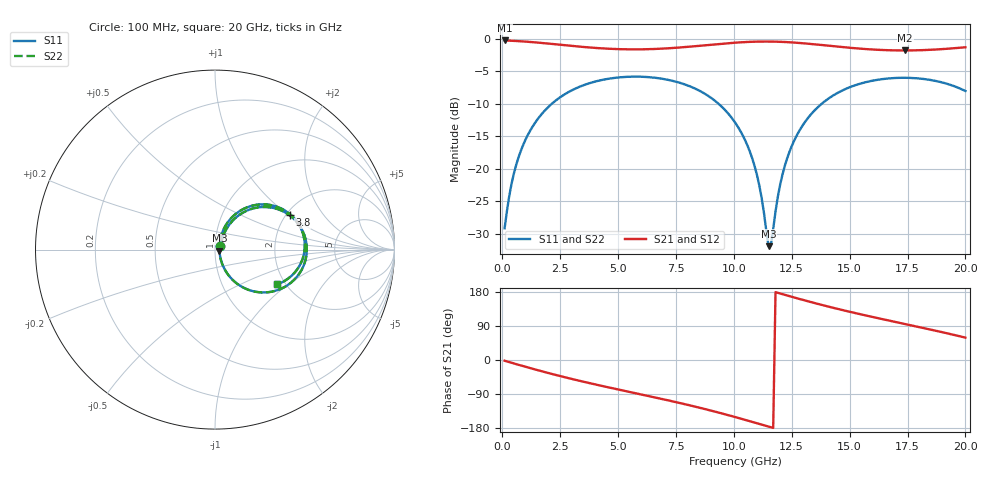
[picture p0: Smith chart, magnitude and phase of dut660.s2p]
! Touchstone file exported from HFSS 2026.1.0
!  File:  C:/ffzhzh/LocalFiles/Ansys_Project_Files/temp_train_TSV_RDL_660_1783130471_35180.aedt
!  Generated:  10:18:55 AM Jul  4, 2026
!  Design:  TSV_RDL
!  Project:  temp_train_TSV_RDL_660_1783130471_35180
! Variables:
!  h_bsmrdl = 5.15um
!  h_ox = 20um
!  h_rdl = 5um
!  h_sub = 52.2um
!  h_tmrdl = 2.04um
!  h_tsv = 52.2um
!  h_via = 3um
!  l_bsmrdl = 597.53um
!  l_sub = 5426.33um
!  l_tmrdl = 768.67um
!  m_sub = 200um
!  pitch = 49.35um
!  r_tsv = 3.33um
!  s_tmrdl = 10um
!  w_bsmrdl = 27.78um
!  w_sub = 500um
!  w_tmrdl = 25.24um
!  x_tsv_center1 = 781.29um
!  x_tsv_center2 = 1406.6um
!  x_tsv_center3 = 2200.51um
!  x_tsv_center4 = 2825.82um
!  x_tsv_center5 = 3619.73um
!  x_tsv_center6 = 4245.04um
# GHz S MA R 50.000000
! Terminal data exported
! Port[1] = TM_RDL1_1_T1
! Port[2] = TM_RDL5_1_T1
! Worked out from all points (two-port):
!   200 points, 100 MHz to 20 GHz, reference 50 ohm
!   highest |S21| = -0.26 dB at 100 MHz (marker M1); lowest = -1.8 dB at 17.4 GHz (marker M2)
!   |S21| within 3 dB of the highest: start of sweep to end of sweep
!   lowest |S11| = -31.9 dB at 11.5 GHz (marker M3), VSWR 1.05, Z = 52.5 - j0.652 ohm
!   |S11| at or under -10 dB: start of sweep to 2.137 GHz; 9.342 GHz to 13.79 GHz (4.449 GHz wide, 38.5 % of centre)
!   |S22| runs from -32.0 to -5.8 dB; largest |S21 - S12| = 2.1e-14
!   S11 on the Smith chart (normalised r, x): 100 MHz: 1.06, +0.04; 3.8 GHz: 2.09, +1.01; 20 GHz: 1.81, -0.83
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0.1  0.035 29.7  0.97 -1.9  0.97 -1.9  0.035 29.7
! Gamma 0 0 0 0
! Port Impedance 50 0 50 0
0.5  0.09211 59.5  0.9629 -9.1  0.9629 -9.1  0.09211 59.5
1.2  0.1961 58.1  0.945 -21.3  0.945 -21.3  0.1961 58.1
2.2  0.3234 45.9  0.9104 -37.7  0.9104 -37.7  0.3234 45.9
3.5  0.4389 28.6  0.8645 -57.3  0.8645 -57.3  0.4389 28.6
3.8  0.4575 24.7  0.8557 -61.5  0.8557 -61.5  0.4575 24.7
5.3  0.5088 5.7  0.8297 -81.7  0.8297 -81.7  0.5088 5.7
6.8  0.496 -13.0  0.8375 -101.5  0.8375 -101.5  0.496 -13.0
8.7  0.3823 -38.3  0.8889 -128.6  0.8889 -128.6  0.3823 -38.3
10.1  0.2209 -57.5  0.9339 -151.2  0.9339 -151.2  0.2208 -57.6
10.9  0.1046 -63.8  0.9491 -165.1  0.9491 -165.1  0.1045 -64.0
11.2  0.05998 -58.4  0.9514 -170.4  0.9514 -170.4  0.0598 -58.8
11.5  0.02549 -14.1  0.9515 -175.7  0.9515 -175.7  0.02506 -14.4
11.6  0.02593 20.2  0.9511 -177.5  0.9511 -177.5  0.0255 20.5
11.9  0.06112 62.0  0.9484 177.3  0.9484 177.3  0.06094 62.4
12.3  0.1203 67.0  0.9417 170.3  0.9417 170.3  0.1202 67.2
12.8  0.1924 63.1  0.929 161.7  0.929 161.7  0.1923 63.2
13.4  0.2709 55.6  0.9094 151.7  0.9094 151.7  0.2709 55.7
14.9  0.4167 35.2  0.8556 128.7  0.8556 128.7  0.4167 35.3
16.7  0.4958 12.3  0.8158 104.1  0.8158 104.1  0.4958 12.3
17.4  0.5013 3.7  0.8126 94.9  0.8126 94.9  0.5012 3.7
20  0.3966 -29.2  0.86 59.0  0.86 59.0  0.3965 -29.2
